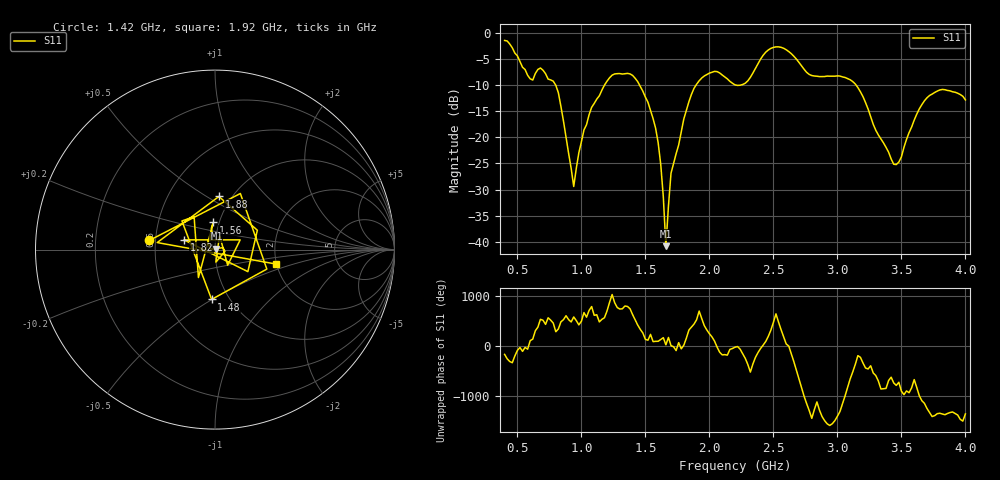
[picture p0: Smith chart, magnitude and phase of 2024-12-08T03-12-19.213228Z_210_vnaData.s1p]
!Created with skrf (http://scikit-rf.org).
# Hz S RI R 50.0
!freq ReS11 ImS11
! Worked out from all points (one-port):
!   181 points, 400 MHz to 4 GHz, reference 50 ohm
!   lowest |S11| = -40.9 dB at 1.66 GHz (marker M1), VSWR 1.02, Z = 50.8 + j0.439 ohm
!   |S11| at or under -10 dB: 800.2 MHz to 1.179 GHz (378.9 MHz wide, 38.3 % of centre); 1.455 GHz to 1.894 GHz (439 MHz wide, 26.2 % of centre); 3.148 GHz to end of sweep (the widest 3 of 4)
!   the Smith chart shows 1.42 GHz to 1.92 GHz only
!   S11 on the Smith chart (normalised r, x): 1.42 GHz: 0.46, +0.05; 1.48 GHz: 0.83, -0.50; 1.56 GHz: 0.94, +0.29; 1.82 GHz: 0.70, +0.08; 1.88 GHz: 0.87, +0.57; 1.92 GHz: 1.99, -0.37
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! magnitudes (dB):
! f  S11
! 400 MHz  -1.4
! 600 MHz  -8.7
! 680 MHz  -6.7
! 780 MHz  -9.2
! 860 MHz  -16.9
! 940 MHz  -29.4
! 1.02 GHz  -18.6
! 1.08 GHz  -14.2
! 1.3 GHz  -7.7
! 1.42 GHz  -8.6
! 1.48 GHz  -11.1
! 1.56 GHz  -16.4
! 1.62 GHz  -25.2
! 1.66 GHz  -40.9
! 1.7 GHz  -26.9
! 1.76 GHz  -21.4
! 1.82 GHz  -14.8
! 1.88 GHz  -10.6
! 1.92 GHz  -9.1
! 2.2 GHz  -9.9
! 2.48 GHz  -2.9
! 2.66 GHz  -4.4
! 2.8 GHz  -8.1
! 3.1 GHz  -8.9
! 3.44 GHz  -25.1
! 3.56 GHz  -19.1
! 3.76 GHz  -11.4
! 4 GHz  -12.8
